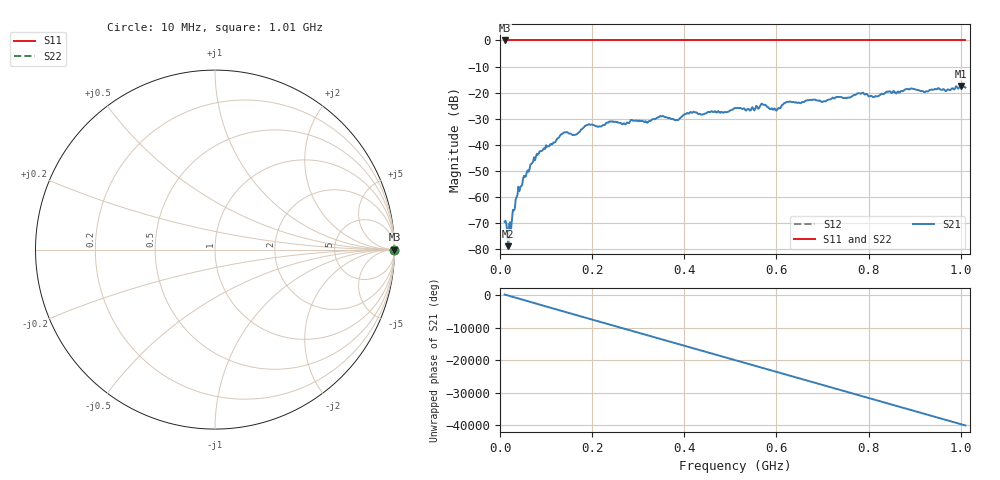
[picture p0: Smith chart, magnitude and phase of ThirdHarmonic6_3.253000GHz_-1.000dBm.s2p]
! 8/17/2025 10:01:08 AM
! C:\ANRITSUVNA\TEMP\TEMP.S2P
! CHANNEL.1
! TR.MEASUREMENT
! RAW.DATA
! RF.CORRECTION.OFF
! AVERAGING.OFF
! IF.BANDWIDTH: 5KHZ
! SWEEPTYPE:  FREQ.SWEEP(Linear)
! Reference Plane Port Info
! PORT:  PORT1  PORT2
! DISTANCE:  0  m  0  m
! TIME:  0  s  0  s
! PHASE.OFFSET:  0  deg.  0  deg.
! LOSS:  0  dB  0  dB
! REF.LOSS:  0  dB  0  dB
! REF.FREQ:  0  Hz  0  Hz
! Power Info
! POWER:  -20  dBm  -20  dBm
! EFF.POWER:  -20  dBm  -20  dBm
! SOURCE.ATTEN:  0  dB  0  dB
! TEST.ATTEN:  0  dB  0  dB
# GHZ S RI R 50.0
! FREQ.GHZ  S11RE  S11IM  S21RE  S21IM  S12RE  S12IM  S22RE  S22IM
!; PortSelection: Port_12
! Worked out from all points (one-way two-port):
!   501 points, 10 MHz to 1.01 GHz, reference 50 ohm
!   highest |S21| = -17.40 dB at 1 GHz (marker M1); lowest = -78.8 dB at 18 MHz (marker M2)
!   lowest |S11| = 0.0 dB at 10 MHz (marker M3)
!   |S11| at or under -10 dB: nowhere
!   |S22| runs from 0.0 to 0.0 dB; largest |S21 - S12| = 1.1
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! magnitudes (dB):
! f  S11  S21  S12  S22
! 10 MHz  0.0  -69.4  0.0  0.0
! 18 MHz  0.0  -78.8  0.0  0.0
! 22 MHz  0.0  -69.7  0.0  0.0
! 38 MHz  0.0  -59.1  0.0  0.0
! 78 MHz  0.0  -44.4  0.0  0.0
! 136 MHz  0.0  -35.7  0.0  0.0
! 162 MHz  0.0  -36.2  0.0  0.0
! 178 MHz  0.0  -34.0  0.0  0.0
! 192 MHz  0.0  -32.2  0.0  0.0
! 344 MHz  0.0  -29.5  0.0  0.0
! 384 MHz  0.0  -30.5  0.0  0.0
! 416 MHz  0.0  -27.7  0.0  0.0
! 510 MHz  0.0  -25.9  0.0  0.0
! 570 MHz  0.0  -24.4  0.0  0.0
! 596 MHz  0.0  -26.0  0.0  0.0
! 624 MHz  0.0  -23.5  0.0  0.0
! 678 MHz  0.0  -22.8  0.0  0.0
! 784 MHz  0.0  -20.4  0.0  0.0
! 814 MHz  0.0  -21.4  0.0  0.0
! 844 MHz  0.0  -19.5  0.0  0.0
! 1 GHz  0.0  -17.4  0.0  0.0
! 1.01 GHz  0.0  -18.0  0.0  0.0
